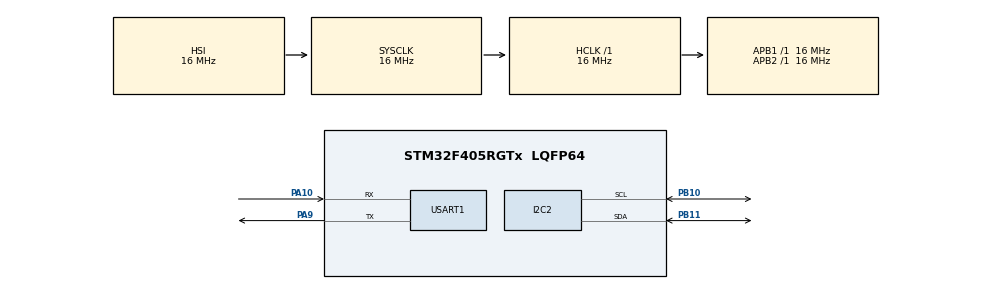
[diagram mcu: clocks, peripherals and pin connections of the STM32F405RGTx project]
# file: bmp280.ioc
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I2C2.I2C_Mode=I2C_Fast
Mcu.Family=STM32F4
Mcu.Name=STM32F405RGTx
Mcu.Package=LQFP64
NVIC.PriorityGroup=NVIC_PRIORITYGROUP_4
PA10.Mode=Asynchronous
PA10.Signal=USART1_RX
PA13.Mode=Serial_Wire
PA13.Signal=SYS_JTMS-SWDIO
PA14.Mode=Serial_Wire
PA14.Signal=SYS_JTCK-SWCLK
PA9.Mode=Asynchronous
PA9.Signal=USART1_TX
PB10.Mode=I2C
PB10.Signal=I2C2_SCL
PB11.Mode=I2C
PB11.Signal=I2C2_SDA
ProjectManager.HeapSize=0x200
ProjectManager.StackSize=0x400
ProjectManager.TargetToolchain=STM32CubeIDE
RCC.AHBFreq_Value=16000000
RCC.APB1Freq_Value=16000000
RCC.APB2Freq_Value=16000000
RCC.CortexFreq_Value=16000000
RCC.HSE_VALUE=25000000
RCC.HSI_VALUE=16000000
RCC.LSE_VALUE=32768
RCC.SYSCLKFreq_VALUE=16000000
RCC.VCOOutputFreq_Value=192000000
TIM1.Prescaler=15
USART1.VirtualMode=VM_ASYNC
VP_TIM1_VS_ClockSourceINT.Mode=Internal
board=custom

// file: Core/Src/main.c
/* USER CODE BEGIN Header */
/**
  ******************************************************************************
  * @file           : main.c
  * @brief          : Main program body
  ******************************************************************************
  * @attention
  *
  * Copyright (c) 2026 STMicroelectronics.
  * All rights reserved.
  *
  * This software is licensed under terms that can be found in the LICENSE file
  * in the root directory of this software component.
  * If no LICENSE file comes with this software, it is provided AS-IS.
  *
  ******************************************************************************
  */
/* USER CODE END Header */
#include "main.h"
#include "i2c.h"
#include "tim.h"
#include "usart.h"
#include "gpio.h"

/* USER CODE BEGIN Includes */
#include <stdio.h>
#include "BMPXX80.h"
#include "delays.h"
/* USER CODE END Includes */

/* USER CODE BEGIN PV */
float temperature, huminidity;
int32_t pressure;
uint8_t Buffer[25] = {0};
uint8_t Space[] = " -- ";
uint8_t NewLine[] = "\r\n";
uint8_t StartMSG[] = "Starting I2C Scanning: \r\n";
uint8_t EndMSG[] = "\r\n ------ Done! ----- \r\n\r\n";

/* USER CODE END PV */

void SystemClock_Config(void);
/* USER CODE BEGIN PFP */
#ifdef __GNUC__
#define PUTCHAR_PROTOTYPE int __io_putchar(int ch)
#else
#define PUTCHAR_PROTOTYPE int fputc(int ch, FILE *f)
#endif

PUTCHAR_PROTOTYPE
{
  HAL_UART_Transmit(&huart1, (uint8_t *)&ch, 1, HAL_MAX_DELAY);
  return ch;
}
/* USER CODE END PFP */

int main(void)
{

  /* USER CODE BEGIN 1 */
    // определяем где выполняется программа, и корректируем расположение таблицы векторов
    uint32_t retPCasm(void); // небольшая функция для определения где выполняется программа в FLASH или RAM
    if ((retPCasm() & 0x20000000) != 0)
    {
        SCB->VTOR = 0x20000000; /* FlagDebugInRAM=1;*/
    }

  /* USER CODE END 1 */

  /* MCU Configuration--------------------------------------------------------*/

  /* Reset of all peripherals, Initializes the Flash interface and the Systick. */
  HAL_Init();

  /* Configure the system clock */
  SystemClock_Config();

  /* Initialize all configured peripherals */
  MX_GPIO_Init();
  MX_I2C2_Init();
  MX_USART1_UART_Init();
  MX_TIM1_Init();
  /* USER CODE BEGIN 2 */
  printf("Инициализация.%s", NewLine);

  HAL_TIM_Base_Start( &htim1 );

  /*-[ I2C Bus Scanning ]-*/
  uint8_t i = 0, ret, i2c_address = 0x00, mem_address = 0x00;
  printf((char *)StartMSG);
  printf((char *)Space);
  for (i = 1; i < 128; ++i)
  {
      if (i % 16 == 0)
      {
          printf((char *)NewLine);
      }
      ret = HAL_I2C_IsDeviceReady(&hi2c2, (uint16_t)(i<<1), 3, 5);
      if (ret != HAL_OK) /* No ACK Received At That Address */
      {
          printf((char *)Space);
      }
      else if(ret == HAL_OK)
      {
          printf("0x%X", i);
          if (i == 0x68 || i == 0x69) // MPU6050
          {
              i2c_address = i;
          }
          if (i == 0x53 || i == 0x1D) // ADXL345
          {
              i2c_address = i;
          }
          if (i == 0x76 || i == 0x77) // BMP180, BMP280, BME280
          {
              i2c_address = i;
              mem_address = 0xD0;
          }
      }
  }
  printf((char *)EndMSG);
  /*--[ Scanning Done ]--*/
  uint8_t chip_address;
  HAL_I2C_Mem_Read(&hi2c2, i2c_address << 1, mem_address, 1, &chip_address, 1, 100);
  printf("chip id: 0x%X%s", chip_address, NewLine);

  // инициализация датчиков ----------------------------------------------------
    // указываем хендл i2c порта hi2c2 , также можем менять режимы ( данные в файле BMPXX0.h )
    #ifdef BMP180
        BMP180_Init( &hi2c2, BMP180_STANDARD );
    #endif

    #ifdef BMP280
        BMP280_Init( &hi2c2, BMP280_TEMPERATURE_16BIT, BMP280_STANDARD, BMP280_FORCEDMODE );
        BMP280_SetConfig( BMP280_STANDBY_MS_10, BMP280_FILTER_OFF );
    #endif

    #ifdef BME280
        BME280_Init( &hi2c2, BME280_TEMPERATURE_16BIT, BME280_PRESSURE_ULTRALOWPOWER, BME280_HUMINIDITY_STANDARD, BME280_NORMALMODE );
        BME280_SetConfig( BME280_STANDBY_MS_10, BME280_FILTER_OFF );
    #endif

    HAL_Delay(3000);

  /* USER CODE END 2 */

  /* Infinite loop */
  /* USER CODE BEGIN WHILE */
  while (1)
  {
#ifdef BMP180
      float temperature = BMP180_ReadTemperature();
      Delay_us(500);
      int32_t pressure = BMP180_ReadPressure();
      Delay_us(500);
#endif

#ifdef BMP280
      BMP280_ReadTemperatureAndPressure(&temperature, &pressure);
#endif

#ifdef BME280
      BME280_ReadTemperatureAndPressureAndHuminidity(&temperature, &pressure, &huminidity);
#endif

#ifdef BMP180
      printf("BMP180 %s", NewLine);
#endif
#ifdef BMP280
      printf("BMP280 %s", NewLine);
#endif
#ifdef BME280
      printf("BME280 %s", NewLine);
#endif

        // °F = ( °C * 1.8000 ) + 32.00
      printf("Temp: %.2f C %s", temperature, NewLine );                    // °C
      printf("Temp: %.2f F %s", ( temperature * 1.8 ) + 32.0, NewLine );   // °F

#ifdef BME280
      // точка росы
        float dewpoint_temperature = ( 237.7 * ( ((17.27 * temperature )/(237.7 + temperature)) + logf( huminidity/100 ) ) ) / ( 17.27 - ( (( 17.27 * temperature ) / ( 237.7 + temperature )) + logf( huminidity/100 ) ) );
        printf("TT: %.2f C %s",dewpoint_temperature, NewLine);
#endif

      // 1 hPa = 1 Pa
      // 1 hPa = 1 mbar
      // 1 mmHg = 1 mbar / 1.333
      printf("Pres: %ld Pa %s", pressure, NewLine );                       //  Pa - в Паскалях
      printf("Pres: %ld hPa %s", ( pressure / 100 ), NewLine );            // hPa - в гектопаскаль
      printf("Pres: %.2f mmHg %s", (pressure / 100) / 1.333, NewLine );    // mmHg - в ​​милиметрах ртутного столба

#ifdef BME280
      printf("Hum: %.2f %% %s", huminidity, NewLine);
#endif

    printf((char *)NewLine);
    HAL_Delay(1000);

    /* USER CODE END WHILE */

  }
}

void SystemClock_Config(void)
{
  RCC_OscInitTypeDef RCC_OscInitStruct = {0};
  RCC_ClkInitTypeDef RCC_ClkInitStruct = {0};

  /** Configure the main internal regulator output voltage
  */
  __HAL_RCC_PWR_CLK_ENABLE();
  __HAL_PWR_VOLTAGESCALING_CONFIG(PWR_REGULATOR_VOLTAGE_SCALE1);

  /** Initializes the RCC Oscillators according to the specified parameters
  * in the RCC_OscInitTypeDef structure.
  */
  RCC_OscInitStruct.OscillatorType = RCC_OSCILLATORTYPE_HSI;
  RCC_OscInitStruct.HSIState = RCC_HSI_ON;
  RCC_OscInitStruct.HSICalibrationValue = RCC_HSICALIBRATION_DEFAULT;
  RCC_OscInitStruct.PLL.PLLState = RCC_PLL_NONE;
  if (HAL_RCC_OscConfig(&RCC_OscInitStruct) != HAL_OK)
  {
    Error_Handler();
  }

  /** Initializes the CPU, AHB and APB buses clocks
  */
  RCC_ClkInitStruct.ClockType = RCC_CLOCKTYPE_HCLK|RCC_CLOCKTYPE_SYSCLK
                              |RCC_CLOCKTYPE_PCLK1|RCC_CLOCKTYPE_PCLK2;
  RCC_ClkInitStruct.SYSCLKSource = RCC_SYSCLKSOURCE_HSI;
  RCC_ClkInitStruct.AHBCLKDivider = RCC_SYSCLK_DIV1;
  RCC_ClkInitStruct.APB1CLKDivider = RCC_HCLK_DIV1;
  RCC_ClkInitStruct.APB2CLKDivider = RCC_HCLK_DIV1;

  if (HAL_RCC_ClockConfig(&RCC_ClkInitStruct, FLASH_LATENCY_0) != HAL_OK)
  {
    Error_Handler();
  }
}

void Error_Handler(void)
{
  __disable_irq();
  while (1)
  {
  }
}
